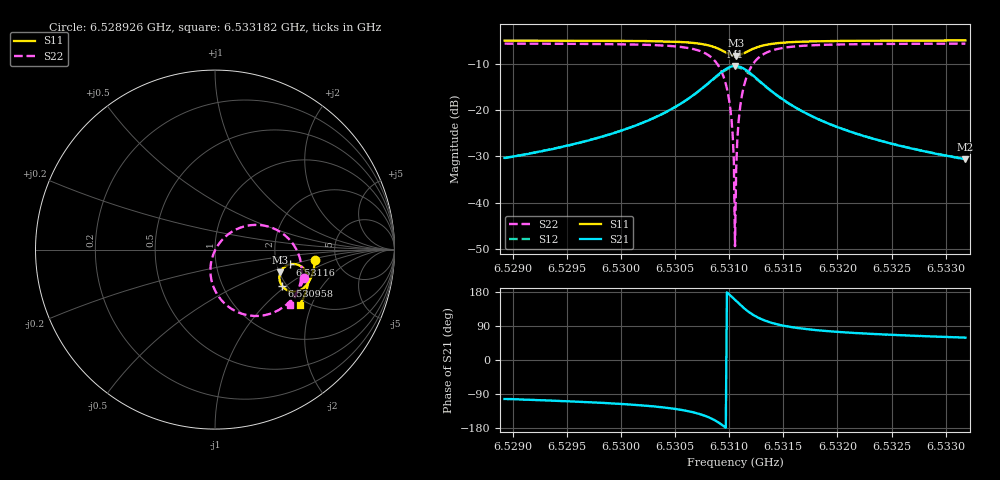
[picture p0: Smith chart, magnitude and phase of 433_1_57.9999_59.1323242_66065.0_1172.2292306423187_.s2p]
#  HZ  S  RI  R  50.00
! Rohde & Schwarz Vector Network Analyzer
! Rohde-Schwarz,ZNB20-2Port,1311601062101988,3.16
! Created: UTC 3/21/2024, 1:09:43 AM
! freq[Hz]  re:S11  im:S11  re:S21  im:S21  re:S12  im:S12  re:S22  im:S22
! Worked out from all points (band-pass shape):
!   401 points, 6.528926 GHz to 6.533182 GHz, reference 50 ohm
!   highest |S21| = -10.50 dB at 6.531054 GHz (marker M1); lowest = -30.6 dB at 6.533182 GHz (marker M2)
!   |S21| within 3 dB of the highest: 6.530842 GHz to 6.531268 GHz (425.6 kHz wide, 0.00652 % of centre)
!   lowest |S11| = -8.3 dB at 6.531065 GHz (marker M3), VSWR 2.26, Z = 101 - j30.3 ohm
!   |S11| at or under -10 dB: nowhere
!   |S22| runs from -49.4 to -5.7 dB; largest |S21 - S12| = 0.011
!   S11 on the Smith chart (normalised r, x): 6.528926 GHz: 3.46, -0.56; 6.530958 GHz: 1.89, -0.93; 6.53116 GHz: 2.36, -0.47; 6.533182 GHz: 1.82, -1.65
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6.5289262e9  0.5584 -0.0555  -0.00679 -0.0296  -0.00722 -0.0294  0.4957 -0.1583
6.529639e9  0.5482 -0.1142  -0.0159 -0.0421  -0.0167 -0.0418  0.4659 -0.224
6.5303518e9  0.5204 -0.1839  -0.0485 -0.0722  -0.0504 -0.0709  0.3868 -0.3158
6.5307773e9  0.4513 -0.2331  -0.1532 -0.098  -0.1555 -0.0919  0.1853 -0.3662
6.5308837e9  0.4077 -0.2284  -0.2209 -0.0727  -0.2204 -0.0637  0.0694 -0.3139
6.5309581e9  0.3738 -0.2021  -0.2711 -0.0163  -0.2657 -0.00666  -0.00714 -0.2108
6.5310113e9  0.3596 -0.1673  -0.288 0.0497  -0.2792 0.0567  -0.0251 -0.0988
6.531022e9  0.359 -0.1593  -0.2876 0.0644  -0.2782 0.0706  -0.0224 -0.0746
6.5310326e9  0.359 -0.1512  -0.2861 0.0792  -0.2761 0.0848  -0.0171 -0.0502
6.5310433e9  0.3602 -0.1431  -0.2827 0.0942  -0.2726 0.0985  -0.00946 -0.0264
6.5310539e9  0.3621 -0.1349  -0.2781 0.1086  -0.2677 0.1121  0.000615 -0.00333
6.5310645e9  0.3649 -0.127  -0.2718 0.1225  -0.2614 0.1252  0.0129 0.0185
6.5310752e9  0.3684 -0.1196  -0.2643 0.1358  -0.2542 0.1374  0.0271 0.0391
6.5310858e9  0.3728 -0.1126  -0.2558 0.1482  -0.2457 0.1489  0.0432 0.058
6.5310964e9  0.3778 -0.1063  -0.246 0.1592  -0.2364 0.1593  0.061 0.0751
6.5311177e9  0.3895 -0.0955  -0.2243 0.1784  -0.2156 0.177  0.0998 0.103
6.5311603e9  0.4156 -0.0826  -0.1769 0.2012  -0.1706 0.1984  0.1819 0.1335
6.5312348e9  0.4574 -0.0829  -0.1033 0.2036  -0.1 0.2009  0.3061 0.1253
6.5313411e9  0.4937 -0.1051  -0.0398 0.1739  -0.0383 0.1724  0.41 0.0609
6.5317667e9  0.5184 -0.1844  0.0149 0.084  0.016 0.0836  0.483 -0.1277
6.5324795e9  0.4987 -0.2561  0.0173 0.0402  0.0181 0.04  0.4553 -0.2443
6.5331816e9  0.4715 -0.308  0.0152 0.0251  0.0156 0.0251  0.4204 -0.3059
